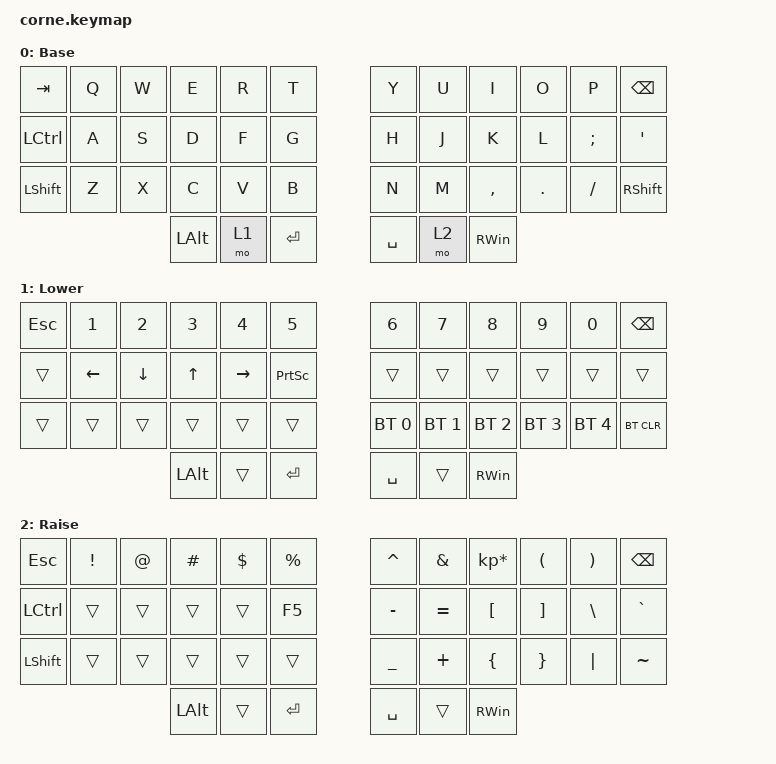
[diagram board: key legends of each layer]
/*
 * Copyright (c) 2020 The ZMK Contributors
 *
 * SPDX-License-Identifier: MIT
 */

#include <behaviors.dtsi>
#include <dt-bindings/zmk/bt.h>
#include <dt-bindings/zmk/keys.h>

/ {
    keymap {
        compatible = "zmk,keymap";

        default_layer {
            // -----------------------------------------------------------------------------------------
            // |  TAB |  Q  |  W  |  E  |  R  |  T  |   |  Y  |  U   |  I  |  O  |  P  | BKSP |
            // | CTRL |  A  |  S  |  D  |  F  |  G  |   |  H  |  J   |  K  |  L  |  ;  |  '   |
            // | SHFT |  Z  |  X  |  C  |  V  |  B  |   |  N  |  M   |  ,  |  .  |  /  | ESC  |
            //                    | GUI | LWR | SPC |   | ENT | RSE  | ALT |

            display-name = "Base";
            bindings = <
&kp TAB    &kp Q  &kp W  &kp E         &kp R  &kp T        &kp Y      &kp U  &kp I          &kp O    &kp P     &kp BSPC
&kp LCTRL  &kp A  &kp S  &kp D         &kp F  &kp G        &kp H      &kp J  &kp K          &kp L    &kp SEMI  &kp SQT
&kp LSHFT  &kp Z  &kp X  &kp C         &kp V  &kp B        &kp N      &kp M  &kp COMMA      &kp DOT  &kp FSLH  &kp RIGHT_SHIFT
                         &kp LEFT_ALT  &mo 1  &kp ENTER    &kp SPACE  &mo 2  &kp RIGHT_WIN
            >;
        };

        lower_layer {
            // -----------------------------------------------------------------------------------------
            // |  TAB |  1  |  2  |  3  |  4  |  5  |   |  6  |  7  |  8  |  9  |  0  | BKSP |
            // | BTCLR| BT1 | BT2 | BT3 | BT4 | BT5 |   | LFT | DWN |  UP | RGT |     |      |
            // | SHFT |     |     |     |     |     |   |     |     |     |     |     |      |
            //                    | GUI |     | SPC |   | ENT |     | ALT |

            display-name = "Lower";
            bindings = <
&kp ESCAPE  &kp N1          &kp N2          &kp N3        &kp N4           &kp N5             &kp N6        &kp N7        &kp N8         &kp N9        &kp N0        &kp BSPC
&trans      &kp LEFT_ARROW  &kp DOWN_ARROW  &kp UP_ARROW  &kp RIGHT_ARROW  &kp PRINTSCREEN    &trans        &trans        &trans         &trans        &trans        &trans
&trans      &trans          &trans          &trans        &trans           &trans             &bt BT_SEL 0  &bt BT_SEL 1  &bt BT_SEL 2   &bt BT_SEL 3  &bt BT_SEL 4  &bt BT_CLR
                                            &kp LEFT_ALT  &trans           &kp ENTER          &kp SPACE     &trans        &kp RIGHT_WIN
            >;
        };

        raise_layer {
            // -----------------------------------------------------------------------------------------
            // |  TAB |  !  |  @  |  #  |  $  |  %  |   |  ^  |  &  |  *  |  (  |  )  | BKSP |
            // | CTRL |     |     |     |     |     |   |  -  |  =  |  [  |  ]  |  \  |  `   |
            // | SHFT |     |     |     |     |     |   |  _  |  +  |  {  |  }  | "|" |  ~   |
            //                    | GUI |     | SPC |   | ENT |     | ALT |

            display-name = "Raise";
            bindings = <
&kp ESCAPE  &kp EXCL  &kp AT  &kp HASH      &kp DLLR  &kp PRCNT    &kp CARET  &kp AMPS   &kp KP_MULTIPLY  &kp LPAR  &kp RPAR  &kp BSPC
&kp LCTRL   &trans    &trans  &trans        &trans    &kp F5       &kp MINUS  &kp EQUAL  &kp LBKT         &kp RBKT  &kp BSLH  &kp GRAVE
&kp LSHFT   &trans    &trans  &trans        &trans    &trans       &kp UNDER  &kp PLUS   &kp LBRC         &kp RBRC  &kp PIPE  &kp TILDE
                              &kp LEFT_ALT  &trans    &kp ENTER    &kp SPACE  &trans     &kp RIGHT_WIN
            >;
        };
    };
};
